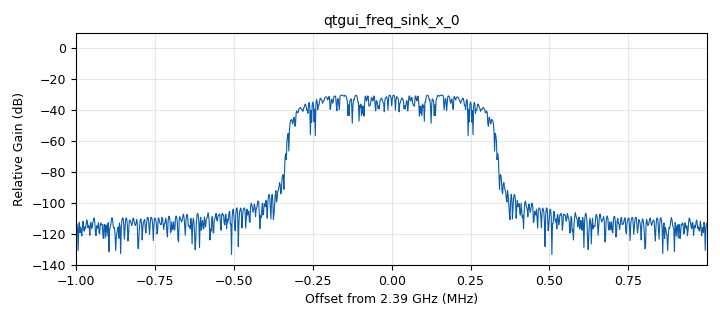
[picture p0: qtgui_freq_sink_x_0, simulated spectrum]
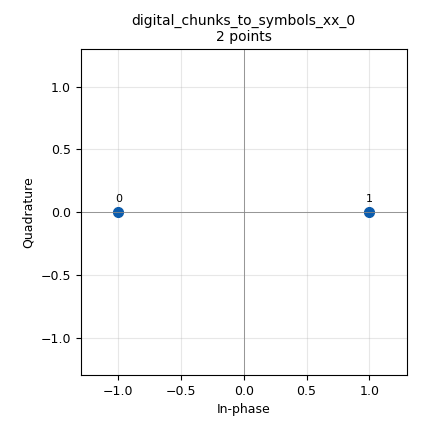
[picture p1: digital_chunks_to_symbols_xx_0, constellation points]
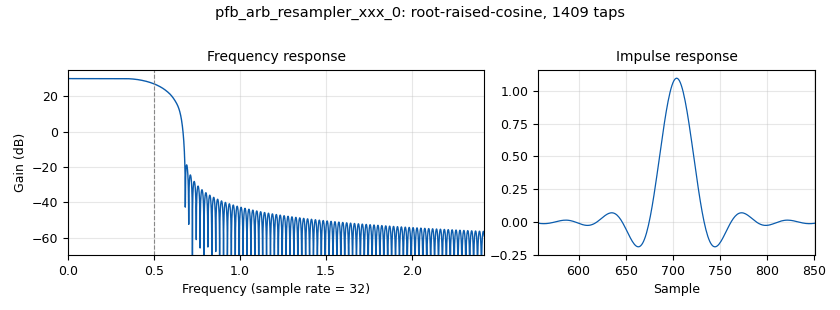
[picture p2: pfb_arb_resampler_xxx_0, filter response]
<?xml version='1.0' encoding='utf-8'?>
<?grc format='1' created='3.7.12'?>
<flow_graph>
<block>
<key>options</key>
<param><key>id</key><value>top_block</value></param>
<param><key>generate_options</key><value>qt_gui</value></param>
</block>
<block>
<key>variable_qtgui_range</key>
<param><key>id</key><value>ampl</value></param>
<param><key>value</key><value>0.7</value></param>
<param><key>label</key><value>Amplitude</value></param>
<param><key>orient</key><value>Qt.Horizontal</value></param>
<param><key>start</key><value>0</value></param>
<param><key>step</key><value>0.01</value></param>
<param><key>stop</key><value>1</value></param>
</block>
<block>
<key>variable</key>
<param><key>id</key><value>arrity</value></param>
<param><key>value</key><value>pow(2,bits_per_symbol)</value></param>
</block>
<block>
<key>variable</key>
<param><key>id</key><value>bits_per_symbol</value></param>
<param><key>value</key><value>1</value></param>
</block>
<block>
<key>variable</key>
<param><key>id</key><value>const_type</value></param>
<param><key>value</key><value>0</value></param>
</block>
<block>
<key>variable</key>
<param><key>id</key><value>constellation</value></param>
<param><key>value</key><value>(digital.constellation_bpsk(), digital.constellation_qpsk(), digital.constellation_8psk())</value></param>
</block>
<block>
<key>variable</key>
<param><key>id</key><value>excess_bw</value></param>
<param><key>value</key><value>0.35</value></param>
</block>
<block>
<key>variable_qtgui_chooser</key>
<param><key>id</key><value>lo_offset</value></param>
<param><key>value</key><value>0</value></param>
<param><key>num_opts</key><value>3</value></param>
<param><key>option0</key><value>0</value></param>
<param><key>option1</key><value>6e6</value></param>
<param><key>option2</key><value>11e6</value></param>
<param><key>type</key><value>real</value></param>
</block>
<block>
<key>variable</key>
<param><key>id</key><value>nfilts</value></param>
<param><key>value</key><value>32</value></param>
</block>
<block>
<key>variable</key>
<param><key>id</key><value>ntaps</value></param>
<param><key>value</key><value>nfilts*11*int(samples_per_symbol)</value></param>
</block>
<block>
<key>variable</key>
<param><key>id</key><value>pre_diff_code</value></param>
<param><key>value</key><value>True</value></param>
</block>
<block>
<key>variable</key>
<param><key>id</key><value>samp_rate</value></param>
<param><key>value</key><value>2e6</value></param>
</block>
<block>
<key>variable</key>
<param><key>id</key><value>samples_per_symbol</value></param>
<param><key>value</key><value>4</value></param>
</block>
<block>
<key>variable_qtgui_range</key>
<param><key>id</key><value>tun_freq_tx</value></param>
<param><key>value</key><value>2.39e9</value></param>
<param><key>label</key><value>UHD Tx Freq (Hz)</value></param>
<param><key>orient</key><value>Qt.Horizontal</value></param>
<param><key>start</key><value>2.3e9</value></param>
<param><key>step</key><value>1</value></param>
<param><key>stop</key><value>2.5e9</value></param>
</block>
<block>
<key>variable_qtgui_range</key>
<param><key>id</key><value>tun_gain_tx</value></param>
<param><key>value</key><value>40</value></param>
<param><key>label</key><value>UHD Tx Gain</value></param>
<param><key>orient</key><value>Qt.Horizontal</value></param>
<param><key>start</key><value>0</value></param>
<param><key>step</key><value>1</value></param>
<param><key>stop</key><value>80</value></param>
</block>
<block>
<key>blocks_multiply_const_vxx</key>
<param><key>id</key><value>blocks_multiply_const_vxx_0</value></param>
<param><key>const</key><value>ampl</value></param>
<param><key>type</key><value>complex</value></param>
</block>
<block>
<key>blocks_packed_to_unpacked_xx</key>
<param><key>id</key><value>blocks_packed_to_unpacked_xx_0</value></param>
<param><key>bits_per_chunk</key><value>1</value></param>
<param><key>endianness</key><value>gr.GR_MSB_FIRST</value></param>
<param><key>type</key><value>byte</value></param>
</block>
<block>
<key>blocks_unpacked_to_packed_xx</key>
<param><key>id</key><value>blocks_unpacked_to_packed_xx_0</value></param>
<param><key>bits_per_chunk</key><value>1</value></param>
<param><key>endianness</key><value>gr.GR_MSB_FIRST</value></param>
<param><key>type</key><value>byte</value></param>
</block>
<block>
<key>blocks_vector_source_x</key>
<param><key>id</key><value>blocks_vector_source_x_0</value></param>
<param><key>type</key><value>byte</value></param>
<param><key>repeat</key><value>True</value></param>
<param><key>vector</key><value>[1,]</value></param>
</block>
<block>
<key>digital_chunks_to_symbols_xx</key>
<param><key>id</key><value>digital_chunks_to_symbols_xx_0</value></param>
<param><key>dimension</key><value>1</value></param>
<param><key>in_type</key><value>byte</value></param>
<param><key>out_type</key><value>complex</value></param>
<param><key>symbol_table</key><value>constellation[const_type].points()</value></param>
</block>
<block>
<key>digital_diff_encoder_bb</key>
<param><key>id</key><value>digital_diff_encoder_bb_0</value></param>
<param><key>modulus</key><value>arrity</value></param>
</block>
<block>
<key>digital_scrambler_bb</key>
<param><key>id</key><value>digital_scrambler_bb_0</value></param>
<param><key>len</key><value>7</value></param>
<param><key>mask</key><value>0x8A</value></param>
<param><key>seed</key><value>0x7F</value></param>
</block>
<block>
<key>pfb_arb_resampler_xxx</key>
<param><key>id</key><value>pfb_arb_resampler_xxx_0</value></param>
<param><key>nfilts</key><value>nfilts</value></param>
<param><key>rrate</key><value>samples_per_symbol</value></param>
<param><key>atten</key><value>100</value></param>
<param><key>taps</key><value>firdes.root_raised_cosine(nfilts, nfilts, 1.0,  0.35, ntaps)</value></param>
<param><key>type</key><value>ccf</value></param>
</block>
<block>
<key>qtgui_const_sink_x</key>
<param><key>id</key><value>qtgui_const_sink_x_0</value></param>
<param><key>_enabled</key><value>0</value></param>
<param><key>size</key><value>1024</value></param>
<param><key>type</key><value>complex</value></param>
</block>
<block>
<key>qtgui_freq_sink_x</key>
<param><key>id</key><value>qtgui_freq_sink_x_0</value></param>
<param><key>bw</key><value>samp_rate</value></param>
<param><key>fc</key><value>tun_freq_tx</value></param>
<param><key>fftsize</key><value>1024</value></param>
<param><key>showports</key><value>True</value></param>
<param><key>type</key><value>complex</value></param>
<param><key>wintype</key><value>firdes.WIN_BLACKMAN_hARRIS</value></param>
</block>
<block>
<key>uhd_usrp_sink</key>
<param><key>id</key><value>uhd_usrp_sink_0_0</value></param>
<param><key>ant0</key><value>TX/RX</value></param>
<param><key>center_freq0</key><value>tun_freq_tx</value></param>
<param><key>norm_gain0</key><value>False</value></param>
<param><key>gain0</key><value>tun_gain_tx</value></param>
<param><key>clock_rate</key><value>30.72e6</value></param>
<param><key>dev_addr</key><value>address</value></param>
<param><key>dev_args</key><value>""</value></param>
<param><key>type</key><value>fc32</value></param>
<param><key>sd_spec0</key><value>A:B</value></param>
<param><key>samp_rate</key><value>samp_rate</value></param>
<param><key>hide_cmd_port</key><value>False</value></param>
<param><key>hide_lo_controls</key><value>True</value></param>
<param><key>sync</key><value></value></param>
<param><key>len_tag_name</key><value></value></param>
</block>
<connection><source_block_id>blocks_multiply_const_vxx_0</source_block_id><sink_block_id>qtgui_const_sink_x_0</sink_block_id><source_key>0</source_key><sink_key>0</sink_key></connection>
<connection><source_block_id>blocks_multiply_const_vxx_0</source_block_id><sink_block_id>qtgui_freq_sink_x_0</sink_block_id><source_key>0</source_key><sink_key>0</sink_key></connection>
<connection><source_block_id>blocks_multiply_const_vxx_0</source_block_id><sink_block_id>uhd_usrp_sink_0_0</sink_block_id><source_key>0</source_key><sink_key>0</sink_key></connection>
<connection><source_block_id>blocks_packed_to_unpacked_xx_0</source_block_id><sink_block_id>digital_diff_encoder_bb_0</sink_block_id><source_key>0</source_key><sink_key>0</sink_key></connection>
<connection><source_block_id>blocks_unpacked_to_packed_xx_0</source_block_id><sink_block_id>blocks_packed_to_unpacked_xx_0</sink_block_id><source_key>0</source_key><sink_key>0</sink_key></connection>
<connection><source_block_id>blocks_vector_source_x_0</source_block_id><sink_block_id>digital_scrambler_bb_0</sink_block_id><source_key>0</source_key><sink_key>0</sink_key></connection>
<connection><source_block_id>digital_chunks_to_symbols_xx_0</source_block_id><sink_block_id>pfb_arb_resampler_xxx_0</sink_block_id><source_key>0</source_key><sink_key>0</sink_key></connection>
<connection><source_block_id>digital_diff_encoder_bb_0</source_block_id><sink_block_id>digital_chunks_to_symbols_xx_0</sink_block_id><source_key>0</source_key><sink_key>0</sink_key></connection>
<connection><source_block_id>digital_scrambler_bb_0</source_block_id><sink_block_id>blocks_unpacked_to_packed_xx_0</sink_block_id><source_key>0</source_key><sink_key>0</sink_key></connection>
<connection><source_block_id>pfb_arb_resampler_xxx_0</source_block_id><sink_block_id>blocks_multiply_const_vxx_0</sink_block_id><source_key>0</source_key><sink_key>0</sink_key></connection>
</flow_graph>
